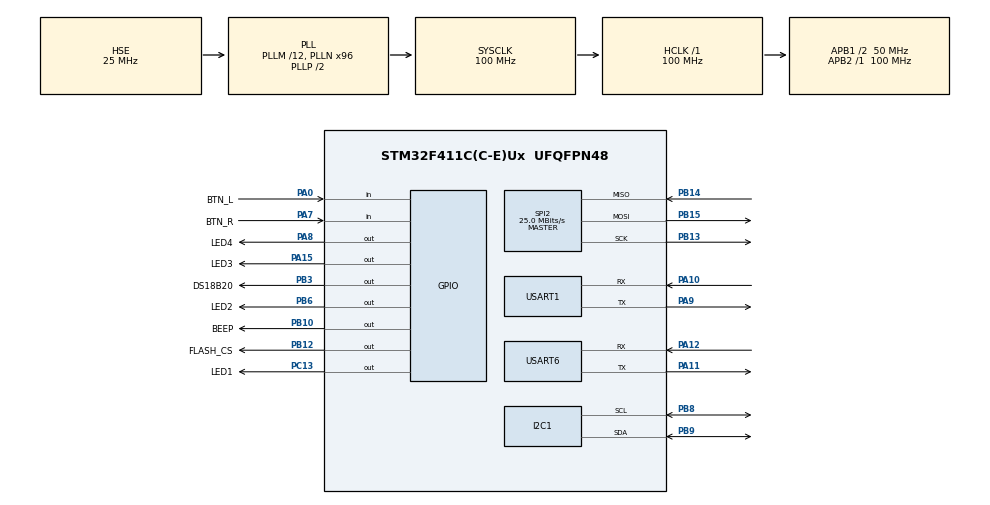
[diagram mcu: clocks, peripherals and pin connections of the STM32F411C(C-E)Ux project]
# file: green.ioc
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Dma.Request0=USART6_RX
Dma.Request1=USART6_TX
Dma.Request2=USART1_RX
Dma.Request3=USART1_TX
Dma.USART1_RX.2.Direction=DMA_PERIPH_TO_MEMORY
Dma.USART1_RX.2.FIFOMode=DMA_FIFOMODE_DISABLE
Dma.USART1_RX.2.Instance=DMA2_Stream2
Dma.USART1_RX.2.MemDataAlignment=DMA_MDATAALIGN_BYTE
Dma.USART1_RX.2.MemInc=DMA_MINC_ENABLE
Dma.USART1_RX.2.Mode=DMA_NORMAL
Dma.USART1_RX.2.PeriphDataAlignment=DMA_PDATAALIGN_BYTE
Dma.USART1_RX.2.PeriphInc=DMA_PINC_DISABLE
Dma.USART1_RX.2.Priority=DMA_PRIORITY_LOW
Dma.USART1_TX.3.Direction=DMA_MEMORY_TO_PERIPH
Dma.USART1_TX.3.FIFOMode=DMA_FIFOMODE_DISABLE
Dma.USART1_TX.3.Instance=DMA2_Stream7
Dma.USART1_TX.3.MemDataAlignment=DMA_MDATAALIGN_BYTE
Dma.USART1_TX.3.MemInc=DMA_MINC_ENABLE
Dma.USART1_TX.3.Mode=DMA_NORMAL
Dma.USART1_TX.3.PeriphDataAlignment=DMA_PDATAALIGN_BYTE
Dma.USART1_TX.3.PeriphInc=DMA_PINC_DISABLE
Dma.USART1_TX.3.Priority=DMA_PRIORITY_LOW
Dma.USART6_RX.0.Direction=DMA_PERIPH_TO_MEMORY
Dma.USART6_RX.0.FIFOMode=DMA_FIFOMODE_DISABLE
Dma.USART6_RX.0.Instance=DMA2_Stream1
Dma.USART6_RX.0.MemDataAlignment=DMA_MDATAALIGN_BYTE
Dma.USART6_RX.0.MemInc=DMA_MINC_ENABLE
Dma.USART6_RX.0.Mode=DMA_NORMAL
Dma.USART6_RX.0.PeriphDataAlignment=DMA_PDATAALIGN_BYTE
Dma.USART6_RX.0.PeriphInc=DMA_PINC_DISABLE
Dma.USART6_RX.0.Priority=DMA_PRIORITY_LOW
Dma.USART6_TX.1.Direction=DMA_MEMORY_TO_PERIPH
Dma.USART6_TX.1.FIFOMode=DMA_FIFOMODE_DISABLE
Dma.USART6_TX.1.Instance=DMA2_Stream6
Dma.USART6_TX.1.MemDataAlignment=DMA_MDATAALIGN_BYTE
Dma.USART6_TX.1.MemInc=DMA_MINC_ENABLE
Dma.USART6_TX.1.Mode=DMA_NORMAL
Dma.USART6_TX.1.PeriphDataAlignment=DMA_PDATAALIGN_BYTE
Dma.USART6_TX.1.PeriphInc=DMA_PINC_DISABLE
Dma.USART6_TX.1.Priority=DMA_PRIORITY_LOW
I2C1.I2C_Mode=I2C_Fast
Mcu.Family=STM32F4
Mcu.Name=STM32F411C(C-E)Ux
Mcu.Package=UFQFPN48
NVIC.DMA2_Stream1_IRQn=true\:0\:0\:false\:false\:true\:false\:true
NVIC.DMA2_Stream2_IRQn=true\:0\:0\:false\:false\:true\:false\:true
NVIC.DMA2_Stream6_IRQn=true\:0\:0\:false\:false\:true\:false\:true
NVIC.DMA2_Stream7_IRQn=true\:0\:0\:false\:false\:true\:false\:true
NVIC.PriorityGroup=NVIC_PRIORITYGROUP_4
NVIC.TIM1_TRG_COM_TIM11_IRQn=true\:0\:0\:false\:false\:true\:false\:true
NVIC.TimeBase=TIM1_TRG_COM_TIM11_IRQn
NVIC.TimeBaseIP=TIM11
NVIC.USART1_IRQn=true\:0\:0\:false\:false\:false\:true\:false
NVIC.USART6_IRQn=true\:0\:0\:false\:false\:false\:true\:false
PA0-WKUP.GPIO_Label=BTN_L
PA0-WKUP.Signal=GPIO_Input
PA10.Mode=Asynchronous
PA10.Signal=USART1_RX
PA11.Mode=Asynchronous
PA11.Signal=USART6_TX
PA12.Mode=Asynchronous
PA12.Signal=USART6_RX
PA15.GPIO_Label=LED3
PA15.Signal=GPIO_Output
PA7.GPIO_Label=BTN_R
PA7.Signal=GPIO_Input
PA8.GPIO_Label=LED4
PA8.Signal=GPIO_Output
PA9.Mode=Asynchronous
PA9.Signal=USART1_TX
PB10.GPIO_Label=BEEP
PB10.Signal=GPIO_Output
PB12.GPIO_Label=FLASH_CS
PB12.Signal=GPIO_Output
PB13.Mode=Full_Duplex_Master
PB13.Signal=SPI2_SCK
PB14.Mode=Full_Duplex_Master
PB14.Signal=SPI2_MISO
PB15.Mode=Full_Duplex_Master
PB15.Signal=SPI2_MOSI
PB3.GPIO_Label=DS18B20
PB3.Signal=GPIO_Output
PB6.GPIO_Label=LED2
PB6.Signal=GPIO_Output
PB8.Mode=I2C
PB8.Signal=I2C1_SCL
PB9.Mode=I2C
PB9.Signal=I2C1_SDA
PC13-ANTI_TAMP.GPIO_Label=LED1
PC13-ANTI_TAMP.Signal=GPIO_Output
PH0\ -\ OSC_IN.Mode=HSE-External-Clock-Source
PH0\ -\ OSC_IN.Signal=RCC_OSC_IN
PH1\ -\ OSC_OUT.Mode=HSE-External-Clock-Source
PH1\ -\ OSC_OUT.Signal=RCC_OSC_OUT
ProjectManager.HeapSize=0x5000
ProjectManager.StackSize=0x400
ProjectManager.TargetToolchain=MDK-ARM V5.27
RCC.48MHZClocksFreq_Value=50000000
RCC.AHBFreq_Value=100000000
RCC.APB1CLKDivider=RCC_HCLK_DIV2
RCC.APB1Freq_Value=50000000
RCC.APB1TimFreq_Value=100000000
RCC.APB2Freq_Value=100000000
RCC.APB2TimFreq_Value=100000000
RCC.CortexFreq_Value=100000000
RCC.HCLKFreq_Value=100000000
RCC.HSE_VALUE=25000000
RCC.HSI_VALUE=16000000
RCC.LSE_VALUE=32768
RCC.PLLM=12
RCC.PLLN=96
RCC.PLLSourceVirtual=RCC_PLLSOURCE_HSE
RCC.SYSCLKFreq_VALUE=100000000
RCC.SYSCLKSource=RCC_SYSCLKSOURCE_PLLCLK
RCC.VCOOutputFreq_Value=200000000
SPI2.CalculateBaudRate=25.0 MBits/s
SPI2.Direction=SPI_DIRECTION_2LINES
SPI2.Mode=SPI_MODE_MASTER
SPI2.VirtualType=VM_MASTER
USART1.VirtualMode=VM_ASYNC
USART6.VirtualMode=VM_ASYNC
VP_SYS_VS_tim11.Mode=TIM11
board=custom

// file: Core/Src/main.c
/* USER CODE BEGIN Header */
/**
  ******************************************************************************
  * @file           : main.c
  * @brief          : Main program body
  ******************************************************************************
  * @attention
  *
  * <h2><center>&copy; Copyright (c) 2019 STMicroelectronics.
  * All rights reserved.</center></h2>
  *
  * This software component is licensed by ST under BSD 3-Clause license,
  * the "License"; You may not use this file except in compliance with the
  * License. You may obtain a copy of the License at:
  *                        opensource.org/licenses/BSD-3-Clause
  *
  ******************************************************************************
  */
/* USER CODE END Header */

#include "main.h"
#include "dma.h"
#include "i2c.h"
#include "spi.h"
#include "usart.h"
#include "gpio.h"

/* USER CODE BEGIN Includes */

#define SHT20_ADDR_WR	0x80
#define SHT20_ADDR_RD	0x81

#define SHT20_TP	0xE3
#define SHT20_RH	0xE5

#include <stdio.h>
#include "QPinDev.hpp"
#include "oled.h"
#include "w25qxx.h"
namespace std {
  struct __FILE
  {
    int handle;
    /* Whatever you require here. If the only file you are using is */
    /* standard output using printf() for debugging, no file handling */
    /* is required. */
  };
  FILE __stdout;
  FILE __stdin;
  FILE __stderr;
  int fgetc(FILE *f)
  {
    /* Your implementation of fgetc(). */
    return 0;
  }
  int fputc(int c, FILE *stream)
  {
	  HAL_UART_Transmit(&huart1, (unsigned char *)(&c), 1, 999);
	  return 1;
    /* Your implementation of fputc(). */
  }
  int ferror(FILE *stream)
  {
    /* Your implementation of ferror(). */
	  return 0;
  }
  long int ftell(FILE *stream)
  {
    /* Your implementation of ftell(). */
	  return 0;
  }
  int fclose(FILE *f)
  {
    /* Your implementation of fclose(). */
    return 0;
  }
  int fseek(FILE *f, long nPos, int nMode)
  {
    /* Your implementation of fseek(). */
    return 0;
  }
  int fflush(FILE *f)
  {
    /* Your implementation of fflush(). */
    return 0;
  }
}
/* USER CODE END Includes */

/* USER CODE BEGIN PV */

class IOclass
{
	public:
		IOclass();

	void on();
	void off();
};

IOclass::IOclass()
{

}

void IOclass::on()
{
	HAL_GPIO_WritePin(LED1_GPIO_Port, LED1_Pin, GPIO_PIN_SET);
	HAL_GPIO_WritePin(LED2_GPIO_Port, LED2_Pin, GPIO_PIN_SET);
	HAL_GPIO_WritePin(LED3_GPIO_Port, LED3_Pin, GPIO_PIN_SET);
	HAL_GPIO_WritePin(LED4_GPIO_Port, LED4_Pin, GPIO_PIN_SET);
}

void IOclass::off()
{
	HAL_GPIO_WritePin(LED1_GPIO_Port, LED1_Pin, GPIO_PIN_RESET);
	HAL_GPIO_WritePin(LED2_GPIO_Port, LED2_Pin, GPIO_PIN_RESET);
	HAL_GPIO_WritePin(LED3_GPIO_Port, LED3_Pin, GPIO_PIN_RESET);
	HAL_GPIO_WritePin(LED4_GPIO_Port, LED4_Pin, GPIO_PIN_RESET);
}

IOclass * pio;
/* USER CODE END PV */

void SystemClock_Config(void);

/* USER CODE BEGIN 0 */
#include <iostream>
using namespace std;
uint8_t databuf[4];

#include "signalslot.hpp"
class Object
{
public:
	void numChanged(int a)
	{
		cout << "num Changed FUN.\n";
	}
	void setNum(int a)
	{
		emitWithParam(numChanged, (a), (a));
	}
	int numSlot(int a)
	{
		cout <<"this is num slot.\n";
		return 0;
	}
};

class Btn : public Object
{
public:
	int numDouble(int a)
	{
		cout << "btn slot : " << a*2 << endl;
		return 0;
	}
};
/* USER CODE END 0 */

int main(void)
{

  /* MCU Configuration--------------------------------------------------------*/

  /* Reset of all peripherals, Initializes the Flash interface and the Systick. */
  HAL_Init();

  /* Configure the system clock */
  SystemClock_Config();

  /* Initialize all configured peripherals */
  MX_GPIO_Init();
  MX_USART1_UART_Init();
  MX_I2C1_Init();
  MX_SPI2_Init();
  MX_USART6_UART_Init();
  MX_DMA_Init();
  /* USER CODE BEGIN 2 */
	pio = new IOclass;
  /* USER CODE END 2 */

  /* Infinite loop */
  while (1)
  {

    /* USER CODE BEGIN 3 */
	  pin.putChar(0);
	  //HAL_UART_Transmit(&huart1, (unsigned char *)"hello\n", 6, 999);
	  //HAL_UART_Transmit(&huart1, "hello", 5, 999);
	  //HAL_GPIO_TogglePin(BEEP_GPIO_Port, BEEP_Pin);
	  //pio->on();
	  HAL_Delay(1000);
	  //pio->off();
	  pin.putChar(1);
	  HAL_Delay(1000);

	  HAL_I2C_Mem_Read(&hi2c1, SHT20_ADDR_RD, SHT20_TP, I2C_MEMADD_SIZE_8BIT, databuf, 2, 0xFFFF);
	  HAL_I2C_Mem_Read(&hi2c1, SHT20_ADDR_RD, SHT20_RH, I2C_MEMADD_SIZE_8BIT, &databuf[2], 2, 0xFFFF);

	  uint16_t t_data = ((uint16_t)databuf[0] << 8) + (databuf[1] & 0xfc);
	  uint16_t r_data = ((uint16_t)databuf[2] << 8) + (databuf[3] & 0xfc);

	  float t = t_data*175.72/65536 - 46.85;
	  float r = r_data*125.00/65536 - 6.000;

	  //cout << "temper   :" << t << endl;
	  //cout << "Humidity :" << r << endl;
  }
  /* USER CODE END 3 */
}

void SystemClock_Config(void)
{
  RCC_OscInitTypeDef RCC_OscInitStruct = {0};
  RCC_ClkInitTypeDef RCC_ClkInitStruct = {0};

  /** Configure the main internal regulator output voltage
  */
  __HAL_RCC_PWR_CLK_ENABLE();
  __HAL_PWR_VOLTAGESCALING_CONFIG(PWR_REGULATOR_VOLTAGE_SCALE1);
  /** Initializes the CPU, AHB and APB busses clocks
  */
  RCC_OscInitStruct.OscillatorType = RCC_OSCILLATORTYPE_HSE;
  RCC_OscInitStruct.HSEState = RCC_HSE_BYPASS;
  RCC_OscInitStruct.PLL.PLLState = RCC_PLL_ON;
  RCC_OscInitStruct.PLL.PLLSource = RCC_PLLSOURCE_HSE;
  RCC_OscInitStruct.PLL.PLLM = 12;
  RCC_OscInitStruct.PLL.PLLN = 96;
  RCC_OscInitStruct.PLL.PLLP = RCC_PLLP_DIV2;
  RCC_OscInitStruct.PLL.PLLQ = 4;
  if (HAL_RCC_OscConfig(&RCC_OscInitStruct) != HAL_OK)
  {
    Error_Handler();
  }
  /** Initializes the CPU, AHB and APB busses clocks
  */
  RCC_ClkInitStruct.ClockType = RCC_CLOCKTYPE_HCLK|RCC_CLOCKTYPE_SYSCLK
                              |RCC_CLOCKTYPE_PCLK1|RCC_CLOCKTYPE_PCLK2;
  RCC_ClkInitStruct.SYSCLKSource = RCC_SYSCLKSOURCE_PLLCLK;
  RCC_ClkInitStruct.AHBCLKDivider = RCC_SYSCLK_DIV1;
  RCC_ClkInitStruct.APB1CLKDivider = RCC_HCLK_DIV2;
  RCC_ClkInitStruct.APB2CLKDivider = RCC_HCLK_DIV1;

  if (HAL_RCC_ClockConfig(&RCC_ClkInitStruct, FLASH_LATENCY_3) != HAL_OK)
  {
    Error_Handler();
  }
}

void HAL_TIM_PeriodElapsedCallback(TIM_HandleTypeDef *htim)
{
  if (htim->Instance == TIM11) {
    HAL_IncTick();
  }
}

void Error_Handler(void)
{
}

/************************ (C) COPYRIGHT STMicroelectronics *****END OF FILE****/
